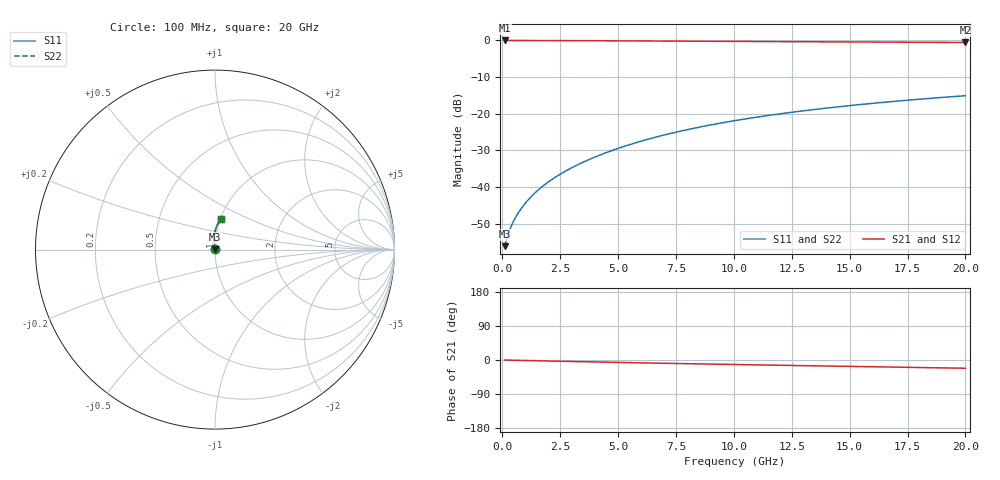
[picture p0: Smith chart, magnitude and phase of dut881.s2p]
! Touchstone file exported from HFSS 2024.1.0
!  File:  C:/UserFiles/LocalFiles/RDL_TSV_Batchsim/temp_RDL_top_881_1779856847.aedt
!  Generated:  12:42:46 PM May 27, 2026
!  Design:  RDL_top
!  Project:  temp_RDL_top_881_1779856847
!  Setup:  Setup1
!  Solution:  Sweep
! Variables:
!  dtsv = 10.80580581um
!  hbump = 3um
!  htsv = 67.23um
!  ldown = 100um
!  lrdl = 322.17um
!  p = 40
!  p1 = 48.09um
!  rhole = 1um
!  t = 450um
!  tdown = 3.915915916um
!  trdl = 3.44um
!  wdown = 15.38538539um
!  wrdl = 29.85um
# GHz S MA R 50.000000
! Terminal data exported
! Port[1] = Box2_T1
! Port[2] = Box2_T2
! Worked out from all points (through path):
!   200 points, 100 MHz to 20 GHz, reference 50 ohm
!   highest |S21| = -0.01 dB at 100 MHz (marker M1); lowest = -0.6 dB at 20 GHz (marker M2)
!   group delay of S21, straight-line fit = 2.97 ps
!   lowest |S11| = -56.1 dB at 100 MHz (marker M3), VSWR 1.00, Z = 50.1 + j0.073 ohm
!   |S11| at or under -10 dB: start of sweep to end of sweep
!   |S22| runs from -56.1 to -15.1 dB; largest |S21 - S12| = 3.2e-15
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0.1  0.001565 27.7  0.9986 -0.1  0.9986 -0.1  0.001565 27.7
! Gamma 0 0 0 0
! Port Impedance 50 0 50 0
0.2  0.002031 43.0  0.9985 -0.3  0.9985 -0.3  0.002031 43.0
0.3  0.002526 51.4  0.9983 -0.4  0.9983 -0.4  0.002526 51.4
0.4  0.003012 57.3  0.9982 -0.6  0.9982 -0.6  0.003012 57.3
0.5  0.003497 61.8  0.9981 -0.7  0.9981 -0.7  0.003497 61.8
0.8  0.005002 71.3  0.9978 -1.1  0.9978 -1.1  0.005002 71.3
1  0.006057 75.6  0.9975 -1.3  0.9975 -1.3  0.006057 75.6
1.2  0.007148 78.9  0.9972 -1.6  0.9972 -1.6  0.007148 78.9
1.7  0.01002 84.6  0.9964 -2.3  0.9964 -2.3  0.01002 84.6
2.2  0.01307 88.4  0.9953 -2.9  0.9953 -2.9  0.01307 88.4
2.8  0.01699 91.5  0.9937 -3.7  0.9937 -3.7  0.01699 91.5
3.5  0.02192 93.9  0.9916 -4.6  0.9916 -4.6  0.02192 93.9
4.2  0.02722 95.4  0.9892 -5.4  0.9892 -5.4  0.02722 95.4
5  0.03369 96.3  0.9862 -6.4  0.9862 -6.4  0.03369 96.3
5.9  0.04142 96.5  0.9827 -7.4  0.9827 -7.4  0.04142 96.5
6.8  0.04954 96.3  0.9791 -8.5  0.9791 -8.5  0.04954 96.3
8.4  0.06463 94.9  0.973 -10.2  0.973 -10.2  0.06462 94.9
10.1  0.08117 92.9  0.9668 -12.0  0.9668 -12.0  0.08116 92.9
11.7  0.09691 90.7  0.9613 -13.6  0.9613 -13.6  0.0969 90.7
13.4  0.1136 88.3  0.9559 -15.3  0.9559 -15.3  0.1136 88.3
16.7  0.1455 83.7  0.9461 -18.6  0.9461 -18.6  0.1454 83.7
20  0.1762 79.2  0.9367 -21.8  0.9367 -21.8  0.1762 79.2
